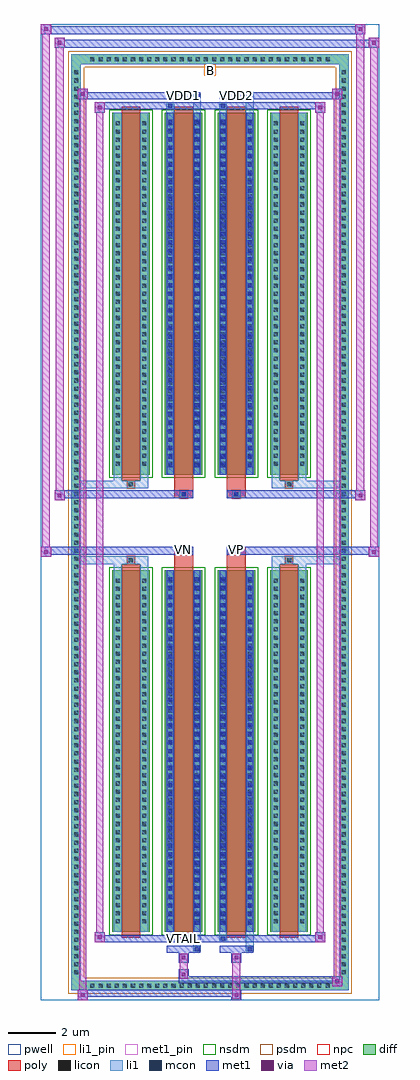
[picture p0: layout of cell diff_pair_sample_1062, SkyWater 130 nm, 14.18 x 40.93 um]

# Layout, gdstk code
import gdstk
lib = gdstk.Library(unit=1e-6, precision=5e-09)
def R(c, l, rs):  # rectangles x0, y0, x1, y1
    for r in rs: c.add(gdstk.rectangle(r[:2], r[2:], *l))
def A(c, l, x, y, w, h, nx, ny, dx, dy):  # array of equal rectangles
    R(c, l, [(x+i*dx, y+j*dy, x+i*dx+w, y+j*dy+h) for i in range(nx) for j in range(ny)])
def P(c, l, *ps):  # polygons
    for p in ps: c.add(gdstk.Polygon(p, *l))
pwell = (64, 44)
diff = (65, 20)
poly = (66, 20)
licon = (66, 44)
li1_pin = (67, 16)
li1 = (67, 20)
mcon = (67, 44)
met1_pin = (68, 16)
met1 = (68, 20)
via = (68, 44)
met2 = (69, 20)
nsdm = (93, 44)
psdm = (94, 20)
npc = (95, 20)

diff_pair_sample_1062 = lib.new_cell('diff_pair_sample_1062')
R(diff_pair_sample_1062, pwell, [(-7.09,-20.03,7.09,20.9), (-4.41,-18.22,-0.01,-0.82), (0.01,-18.22,4.41,-0.82), (-4.41,0.82,-0.01,18.22), (0.01,0.82,4.41,18.22)])
A(diff_pair_sample_1062, diff, -5.135, -19.63, 0.41, 0.41, 30, 2, 0.34, 38.85)
A(diff_pair_sample_1062, diff, -5.82, -19.075, 0.41, 0.41, 1, 112, 0, 0.34)
A(diff_pair_sample_1062, diff, 5.41, -19.075, 0.41, 0.41, 1, 112, 0, 0.34)
A(diff_pair_sample_1062, diff, -4.1, -17.175, 1.57, 15.17, 4, 2, 2.21, 19.18)
R(diff_pair_sample_1062, diff, [(-5.135,-19.63,5.135,-19.22), (-5.82,-19.075,-5.41,19.075), (5.41,-19.075,5.82,19.075), (-5.135,19.22,5.135,19.63)])
P(diff_pair_sample_1062, diff, [(5.82,19.63),(-5.82,19.63),(-5.82,-19.22),(-5.41,-19.22),(-5.41,19.22),(5.41,19.22),(5.41,-19.22),(-5.41,-19.22),(-5.82,-19.22),(-5.82,-19.63),(5.82,-19.63)])
A(diff_pair_sample_1062, poly, -3.71, -17.425, 0.79, 15.67, 4, 2, 2.21, 19.18)
R(diff_pair_sample_1062, poly, [(-3.48,-1.755,-3.15,-1.425), (-3.48,-1.755,-3.15,-1.425), (-1.5,-1.755,-0.71,-1.35), (0.71,-1.755,1.5,-1.35), (3.15,-1.755,3.48,-1.425), (3.15,-1.755,3.48,-1.425), (-1.5,-1.35,-0.71,-1.02), (-1.27,-1.35,-0.94,-1.02), (0.71,-1.35,1.5,-1.02), (0.94,-1.35,1.27,-1.02), (-1.5,1.02,-0.71,1.35), (-1.27,1.02,-0.94,1.35), (0.71,1.02,1.5,1.35), (0.94,1.02,1.27,1.35), (-1.5,1.35,-0.71,1.755), (0.71,1.35,1.5,1.755), (-3.48,1.425,-3.15,1.755), (-3.48,1.425,-3.15,1.755), (3.15,1.425,3.48,1.755), (3.15,1.425,3.48,1.755)])
A(diff_pair_sample_1062, licon, -5.015, -19.51, 0.17, 0.17, 30, 2, 0.34, 38.85)
A(diff_pair_sample_1062, licon, -5.7, -18.955, 0.17, 0.17, 1, 112, 0, 0.34)
A(diff_pair_sample_1062, licon, 5.53, -18.955, 0.17, 0.17, 1, 112, 0, 0.34)
A(diff_pair_sample_1062, licon, -3.96, -16.815, 0.17, 0.17, 1, 43, 0, 0.34)
A(diff_pair_sample_1062, licon, -2.84, -16.815, 0.17, 0.17, 1, 43, 0, 0.34)
A(diff_pair_sample_1062, licon, -1.75, -16.815, 0.17, 0.17, 1, 43, 0, 0.34)
A(diff_pair_sample_1062, licon, -0.63, -16.815, 0.17, 0.17, 1, 43, 0, 0.34)
A(diff_pair_sample_1062, licon, 0.46, -16.815, 0.17, 0.17, 1, 43, 0, 0.34)
A(diff_pair_sample_1062, licon, 1.58, -16.815, 0.17, 0.17, 1, 43, 0, 0.34)
A(diff_pair_sample_1062, licon, 2.67, -16.815, 0.17, 0.17, 1, 43, 0, 0.34)
A(diff_pair_sample_1062, licon, 3.79, -16.815, 0.17, 0.17, 1, 43, 0, 0.34)
A(diff_pair_sample_1062, licon, -3.96, 2.365, 0.17, 0.17, 1, 43, 0, 0.34)
A(diff_pair_sample_1062, licon, -2.84, 2.365, 0.17, 0.17, 1, 43, 0, 0.34)
A(diff_pair_sample_1062, licon, -1.75, 2.365, 0.17, 0.17, 1, 43, 0, 0.34)
A(diff_pair_sample_1062, licon, -0.63, 2.365, 0.17, 0.17, 1, 43, 0, 0.34)
A(diff_pair_sample_1062, licon, 0.46, 2.365, 0.17, 0.17, 1, 43, 0, 0.34)
A(diff_pair_sample_1062, licon, 1.58, 2.365, 0.17, 0.17, 1, 43, 0, 0.34)
A(diff_pair_sample_1062, licon, 2.67, 2.365, 0.17, 0.17, 1, 43, 0, 0.34)
A(diff_pair_sample_1062, licon, 3.79, 2.365, 0.17, 0.17, 1, 43, 0, 0.34)
R(diff_pair_sample_1062, licon, [(-3.4,-1.675,-3.23,-1.505), (3.23,-1.675,3.4,-1.505), (-1.19,-1.27,-1.02,-1.1), (1.02,-1.27,1.19,-1.1), (-1.19,1.1,-1.02,1.27), (1.02,1.1,1.19,1.27), (-3.4,1.505,-3.23,1.675), (3.23,1.505,3.4,1.675)])
R(diff_pair_sample_1062, li1_pin, [(-0.25,18.72,0.25,19.22)])
A(diff_pair_sample_1062, li1, -5.095, -19.59, 0.33, 0.33, 30, 2, 0.34, 38.85)
A(diff_pair_sample_1062, li1, -5.78, -19.035, 0.33, 0.33, 1, 112, 0, 0.34)
A(diff_pair_sample_1062, li1, 5.45, -19.035, 0.33, 0.33, 1, 112, 0, 0.34)
A(diff_pair_sample_1062, li1, -4.04, -16.895, 0.33, 0.33, 1, 43, 0, 0.34)
A(diff_pair_sample_1062, li1, -2.92, -16.895, 0.33, 0.33, 1, 43, 0, 0.34)
A(diff_pair_sample_1062, li1, -1.83, -16.895, 0.33, 0.33, 1, 43, 0, 0.34)
A(diff_pair_sample_1062, li1, -0.71, -16.895, 0.33, 0.33, 1, 43, 0, 0.34)
A(diff_pair_sample_1062, li1, 0.38, -16.895, 0.33, 0.33, 1, 43, 0, 0.34)
A(diff_pair_sample_1062, li1, 1.5, -16.895, 0.33, 0.33, 1, 43, 0, 0.34)
A(diff_pair_sample_1062, li1, 2.59, -16.895, 0.33, 0.33, 1, 43, 0, 0.34)
A(diff_pair_sample_1062, li1, 3.71, -16.895, 0.33, 0.33, 1, 43, 0, 0.34)
A(diff_pair_sample_1062, li1, -1.75, -16.875, 0.17, 0.17, 1, 41, 0, 0.36)
A(diff_pair_sample_1062, li1, -0.63, -16.875, 0.17, 0.17, 1, 41, 0, 0.36)
A(diff_pair_sample_1062, li1, 0.46, -16.875, 0.17, 0.17, 1, 41, 0, 0.36)
A(diff_pair_sample_1062, li1, 1.58, -16.875, 0.17, 0.17, 1, 41, 0, 0.36)
A(diff_pair_sample_1062, li1, -4.04, 2.285, 0.33, 0.33, 1, 43, 0, 0.34)
A(diff_pair_sample_1062, li1, -2.92, 2.285, 0.33, 0.33, 1, 43, 0, 0.34)
A(diff_pair_sample_1062, li1, -1.83, 2.285, 0.33, 0.33, 1, 43, 0, 0.34)
A(diff_pair_sample_1062, li1, -0.71, 2.285, 0.33, 0.33, 1, 43, 0, 0.34)
A(diff_pair_sample_1062, li1, 0.38, 2.285, 0.33, 0.33, 1, 43, 0, 0.34)
A(diff_pair_sample_1062, li1, 1.5, 2.285, 0.33, 0.33, 1, 43, 0, 0.34)
A(diff_pair_sample_1062, li1, 2.59, 2.285, 0.33, 0.33, 1, 43, 0, 0.34)
A(diff_pair_sample_1062, li1, 3.71, 2.285, 0.33, 0.33, 1, 43, 0, 0.34)
A(diff_pair_sample_1062, li1, -1.75, 2.305, 0.17, 0.17, 1, 41, 0, 0.36)
A(diff_pair_sample_1062, li1, -0.63, 2.305, 0.17, 0.17, 1, 41, 0, 0.36)
A(diff_pair_sample_1062, li1, 0.46, 2.305, 0.17, 0.17, 1, 41, 0, 0.36)
A(diff_pair_sample_1062, li1, 1.58, 2.305, 0.17, 0.17, 1, 41, 0, 0.36)
R(diff_pair_sample_1062, li1, [(-5.82,-19.63,-5.41,-19.22), (-5.82,-19.63,-5.41,-19.22), (-5.41,-19.63,5.41,-19.22), (5.41,-19.63,5.82,-19.22), (5.41,-19.63,5.82,-19.22), (-5.82,-19.22,-5.41,19.22), (5.41,-19.22,5.82,19.22), (-0.71,-17.98,-0.38,-17.175), (-0.63,-17.98,-0.46,-17.81), (1.5,-17.98,1.83,-17.175), (1.58,-17.98,1.75,-17.81), (-1.83,-17.55,-1.5,-17.175), (-1.75,-17.55,-1.58,-17.38), (0.38,-17.55,0.71,-17.175), (0.46,-17.55,0.63,-17.38), (-4.04,-17.175,-3.71,-2.005), (-2.92,-17.175,-2.59,-2.005), (-1.83,-17.175,-1.5,-2.005), (-0.71,-17.175,-0.38,-2.005), (0.38,-17.175,0.71,-2.005), (1.5,-17.175,1.83,-2.005), (2.59,-17.175,2.92,-2.005), (3.71,-17.175,4.04,-2.005), (-1.75,-16.875,-1.58,-2.305), (-0.63,-16.875,-0.46,-2.305), (0.46,-16.875,0.63,-2.305), (1.58,-16.875,1.75,-2.305), (-4.04,-2.005,-3.71,-1.425), (-2.92,-2.005,-2.59,-1.425), (2.59,-2.005,2.92,-1.425), (3.71,-2.005,4.04,-1.425), (-5.82,-1.755,-3.48,-1.425), (-4.04,-1.755,-3.48,-1.425), (-3.48,-1.755,-3.15,-1.425), (-3.15,-1.755,-2.59,-1.425), (2.59,-1.755,3.15,-1.425), (3.15,-1.755,3.48,-1.425), (3.15,-1.755,5.82,-1.425), (3.48,-1.755,4.04,-1.425), (-1.27,-1.35,-0.94,-1.02), (0.94,-1.35,1.27,-1.02), (-1.27,1.02,-0.94,1.35), (0.94,1.02,1.27,1.35), (-5.82,1.425,-3.48,1.755), (-4.04,1.425,-3.48,1.755), (-4.04,1.425,-3.71,2.005), (-3.48,1.425,-3.15,1.755), (-3.15,1.425,-2.59,1.755), (-2.92,1.425,-2.59,2.005), (2.59,1.425,3.15,1.755), (2.59,1.425,2.92,2.005), (3.15,1.425,3.48,1.755), (3.15,1.425,5.82,1.755), (3.48,1.425,4.04,1.755), (3.71,1.425,4.04,2.005), (-4.04,2.005,-3.71,17.175), (-2.92,2.005,-2.59,17.175), (-1.83,2.005,-1.5,17.175), (-0.71,2.005,-0.38,17.175), (0.38,2.005,0.71,17.175), (1.5,2.005,1.83,17.175), (2.59,2.005,2.92,17.175), (3.71,2.005,4.04,17.175), (-1.75,2.305,-1.58,16.875), (-0.63,2.305,-0.46,16.875), (0.46,2.305,0.63,16.875), (1.58,2.305,1.75,16.875), (-1.83,17.175,-1.5,17.55), (-0.71,17.175,-0.38,17.98), (0.38,17.175,0.71,17.55), (1.5,17.175,1.83,17.98), (-1.75,17.38,-1.58,17.55), (0.46,17.38,0.63,17.55), (-0.63,17.81,-0.46,17.98), (1.58,17.81,1.75,17.98), (-5.82,19.22,-5.41,19.63), (-5.82,19.22,-5.41,19.63), (-5.41,19.22,5.41,19.63), (5.41,19.22,5.82,19.63), (5.41,19.22,5.82,19.63)])
A(diff_pair_sample_1062, mcon, -1.75, -16.875, 0.17, 0.17, 1, 41, 0, 0.36)
A(diff_pair_sample_1062, mcon, -0.63, -16.875, 0.17, 0.17, 1, 41, 0, 0.36)
A(diff_pair_sample_1062, mcon, 0.46, -16.875, 0.17, 0.17, 1, 41, 0, 0.36)
A(diff_pair_sample_1062, mcon, 1.58, -16.875, 0.17, 0.17, 1, 41, 0, 0.36)
A(diff_pair_sample_1062, mcon, -1.75, 2.305, 0.17, 0.17, 1, 41, 0, 0.36)
A(diff_pair_sample_1062, mcon, -0.63, 2.305, 0.17, 0.17, 1, 41, 0, 0.36)
A(diff_pair_sample_1062, mcon, 0.46, 2.305, 0.17, 0.17, 1, 41, 0, 0.36)
A(diff_pair_sample_1062, mcon, 1.58, 2.305, 0.17, 0.17, 1, 41, 0, 0.36)
R(diff_pair_sample_1062, mcon, [(-0.63,-17.98,-0.46,-17.81), (1.58,-17.98,1.75,-17.81), (-1.75,-17.55,-1.58,-17.38), (0.46,-17.55,0.63,-17.38), (-1.19,-1.27,-1.02,-1.1), (1.02,-1.27,1.19,-1.1), (-1.19,1.1,-1.02,1.27), (1.02,1.1,1.19,1.27), (-1.75,17.38,-1.58,17.55), (0.46,17.38,0.63,17.55), (-0.63,17.81,-0.46,17.98), (1.58,17.81,1.75,17.98)])
R(diff_pair_sample_1062, met1_pin, [(-1.24,-17.59,-0.97,-17.32), (-1.24,-1.29,-0.97,-1.02), (0.97,-1.29,1.24,-1.02), (-1.24,17.77,-0.97,18.04), (0.97,17.77,1.24,18.04)])
A(diff_pair_sample_1062, met1, -1.81, -16.935, 0.29, 0.29, 1, 41, 0, 0.36)
A(diff_pair_sample_1062, met1, -0.69, -16.935, 0.29, 0.29, 1, 41, 0, 0.36)
A(diff_pair_sample_1062, met1, 0.4, -16.935, 0.29, 0.29, 1, 41, 0, 0.36)
A(diff_pair_sample_1062, met1, 1.52, -16.935, 0.29, 0.29, 1, 41, 0, 0.36)
A(diff_pair_sample_1062, met1, -1.81, 2.245, 0.29, 0.29, 1, 41, 0, 0.36)
A(diff_pair_sample_1062, met1, -0.69, 2.245, 0.29, 0.29, 1, 41, 0, 0.36)
A(diff_pair_sample_1062, met1, 0.4, 2.245, 0.29, 0.29, 1, 41, 0, 0.36)
A(diff_pair_sample_1062, met1, 1.52, 2.245, 0.29, 0.29, 1, 41, 0, 0.36)
R(diff_pair_sample_1062, met1, [(-5.55,-20.03,-5.12,-19.6), (0.89,-20.03,1.32,-19.6), (-5.55,-19.89,1.32,-19.6), (5.12,-19.46,5.55,-19.03), (-1.32,-19.32,5.55,-19.03), (-1.32,-19.18,-0.89,-18.75), (-1.32,-18.47,-0.89,-18.04), (0.89,-18.47,1.32,-18.04), (-1.81,-18.04,-0.4,-17.75), (-0.69,-18.04,-0.4,-17.75), (0.4,-18.04,1.81,-17.75), (1.52,-18.04,1.81,-17.75), (-4.84,-17.61,-4.41,-17.18), (-4.84,-17.61,-1.81,-17.32), (-1.81,-17.61,-1.52,-17.32), (-1.81,-17.61,-0.4,-17.32), (-0.4,-17.61,0.4,-17.32), (0.4,-17.61,0.69,-17.32), (0.4,-17.61,1.81,-17.32), (1.81,-17.61,4.84,-17.32), (4.41,-17.61,4.84,-17.18), (-1.81,-17.175,-1.52,-2.005), (-0.69,-17.175,-0.4,-2.005), (0.4,-17.175,0.69,-2.005), (1.52,-17.175,1.81,-2.005), (-7.09,-1.45,-6.66,-1.02), (6.66,-1.45,7.09,-1.02), (-7.09,-1.35,-0.71,-1.02), (-1.5,-1.35,-0.71,-1.02), (0.71,-1.35,1.5,-1.02), (0.71,-1.35,7.09,-1.02), (-1.25,-1.33,-0.96,-1.04), (0.96,-1.33,1.25,-1.04), (-6.52,0.92,-6.09,1.35), (6.09,0.92,6.52,1.35), (-6.52,1.02,-1.5,1.35), (-1.5,1.02,-0.71,1.35), (0.71,1.02,1.5,1.35), (1.5,1.02,6.52,1.35), (-1.25,1.04,-0.96,1.33), (0.96,1.04,1.25,1.33), (-1.81,2.005,-1.52,17.175), (-0.69,2.005,-0.4,17.175), (0.4,2.005,0.69,17.175), (1.52,2.005,1.81,17.175), (-4.84,17.18,-4.41,17.61), (4.41,17.18,4.84,17.61), (-4.84,17.32,-1.81,17.61), (-1.81,17.32,-1.52,17.61), (-1.81,17.32,-0.4,17.61), (-0.4,17.32,0.4,17.61), (0.4,17.32,0.69,17.61), (0.4,17.32,1.81,17.61), (1.81,17.32,4.84,17.61), (-5.55,17.75,-5.12,18.18), (-5.55,17.75,-1.81,18.04), (-1.81,17.75,-0.4,18.04), (-0.69,17.75,-0.4,18.04), (0.4,17.75,1.81,18.04), (1.52,17.75,1.81,18.04), (1.81,17.75,5.55,18.04), (5.12,17.75,5.55,18.18), (-6.52,19.9,-6.09,20.33), (-6.52,19.9,-4.41,20.23), (-4.41,19.9,4.41,20.23), (4.41,19.9,7.09,20.23), (6.66,19.9,7.09,20.33), (-7.09,20.47,-6.66,20.9), (-7.09,20.47,-4.41,20.8), (-4.41,20.47,4.41,20.8), (4.41,20.47,6.52,20.8), (6.09,20.47,6.52,20.9)])
R(diff_pair_sample_1062, via, [(-5.41,-19.89,-5.26,-19.74), (1.03,-19.89,1.18,-19.74), (5.26,-19.32,5.41,-19.17), (-1.18,-19.04,-1.03,-18.89), (-1.18,-18.33,-1.03,-18.18), (1.03,-18.33,1.18,-18.18), (-4.7,-17.47,-4.55,-17.32), (4.55,-17.47,4.7,-17.32), (-6.95,-1.31,-6.8,-1.16), (6.8,-1.31,6.95,-1.16), (-6.38,1.06,-6.23,1.21), (6.23,1.06,6.38,1.21), (-4.7,17.32,-4.55,17.47), (4.55,17.32,4.7,17.47), (-5.41,17.89,-5.26,18.04), (5.26,17.89,5.41,18.04), (-6.38,20.04,-6.23,20.19), (6.8,20.04,6.95,20.19), (-6.95,20.61,-6.8,20.76), (6.23,20.61,6.38,20.76)])
R(diff_pair_sample_1062, met2, [(-5.55,-20.03,-5.12,-19.6), (-5.48,-20.03,-5.19,18.18), (-5.19,-20.03,-5.12,-19.6), (-5.5,-19.98,-5.17,-19.65), (0.94,-19.98,1.27,-19.65), (0.94,-19.65,1.27,-18.42), (5.12,-19.46,5.55,-19.03), (5.19,-19.46,5.48,18.18), (5.48,-19.46,5.55,-19.03), (5.17,-19.41,5.5,-19.08), (-1.27,-19.13,-0.94,-18.8), (-1.27,-18.8,-0.94,-18.42), (-1.27,-18.42,-0.94,-18.09), (0.94,-18.42,1.27,-18.09), (-4.84,-17.61,-4.41,-17.18), (-4.77,-17.61,-4.48,17.61), (-4.48,-17.61,-4.41,-17.18), (4.41,-17.61,4.84,-17.18), (4.48,-17.61,4.77,17.61), (4.77,-17.61,4.84,-17.18), (-4.79,-17.56,-4.46,-17.23), (4.46,-17.56,4.79,-17.23), (-7.09,-1.45,-6.66,-1.02), (-7.04,-1.45,-6.71,20.9), (-6.71,-1.45,-6.66,-1.02), (6.66,-1.45,7.09,-1.02), (6.71,-1.45,7.04,20.33), (7.04,-1.45,7.09,-1.02), (-7.04,-1.4,-6.71,-1.07), (6.71,-1.4,7.04,-1.07), (-6.52,0.92,-6.09,1.35), (-6.47,0.92,-6.14,20.33), (-6.14,0.92,-6.09,1.35), (6.09,0.92,6.52,1.35), (6.14,0.92,6.47,20.9), (6.47,0.92,6.52,1.35), (-6.47,0.97,-6.14,1.3), (6.14,0.97,6.47,1.3), (-4.84,17.18,-4.41,17.61), (-4.48,17.18,-4.41,17.61), (4.41,17.18,4.84,17.61), (4.77,17.18,4.84,17.61), (-4.79,17.23,-4.46,17.56), (4.46,17.23,4.79,17.56), (-5.55,17.75,-5.12,18.18), (-5.19,17.75,-5.12,18.18), (5.12,17.75,5.55,18.18), (5.48,17.75,5.55,18.18), (-5.5,17.8,-5.17,18.13), (5.17,17.8,5.5,18.13), (-6.52,19.9,-6.09,20.33), (-6.14,19.9,-6.09,20.33), (6.66,19.9,7.09,20.33), (7.04,19.9,7.09,20.33), (-6.47,19.95,-6.14,20.28), (6.71,19.95,7.04,20.28), (-7.09,20.47,-6.66,20.9), (-6.71,20.47,-6.66,20.9), (6.09,20.47,6.52,20.9), (6.47,20.47,6.52,20.9), (-7.04,20.52,-6.71,20.85), (6.14,20.52,6.47,20.85)])
A(diff_pair_sample_1062, nsdm, -4.23, -17.305, 1.83, 15.43, 4, 2, 2.21, 19.18)
P(diff_pair_sample_1062, psdm, [(5.95,19.76),(-5.95,19.76),(-5.95,-19.09),(-5.28,-19.09),(-5.28,19.09),(5.28,19.09),(5.28,-19.09),(-5.28,-19.09),(-5.95,-19.09),(-5.95,-19.76),(5.95,-19.76)])
R(diff_pair_sample_1062, npc, [(-3.5,-1.775,-3.13,-1.405), (3.13,-1.775,3.5,-1.405), (-1.29,-1.37,-0.92,-1), (0.92,-1.37,1.29,-1), (-1.29,1,-0.92,1.37), (0.92,1,1.29,1.37), (-3.5,1.405,-3.13,1.775), (3.13,1.405,3.5,1.775)])
diff_pair_sample_1062.add(gdstk.Label('VTAIL', (-1.105,-17.455), layer=68, texttype=5))
diff_pair_sample_1062.add(gdstk.Label('VN', (-1.105,-1.155), layer=68, texttype=5))
diff_pair_sample_1062.add(gdstk.Label('VP', (1.105,-1.155), layer=68, texttype=5))
diff_pair_sample_1062.add(gdstk.Label('B', (0,18.97), layer=67, texttype=5))
diff_pair_sample_1062.add(gdstk.Label('VDD2', (1.105,17.905), layer=68, texttype=5))
diff_pair_sample_1062.add(gdstk.Label('VDD1', (-1.105,17.905), layer=68, texttype=5))

lib.write_gds('diff_pair_sample_1062.gds')
